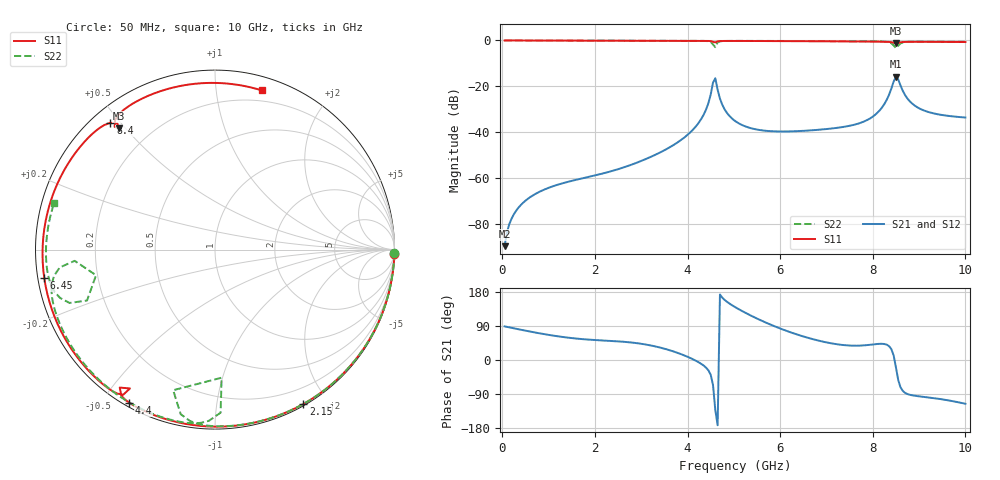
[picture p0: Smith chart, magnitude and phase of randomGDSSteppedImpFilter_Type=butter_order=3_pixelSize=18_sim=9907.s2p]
! freq	dB(S11)	phase(S11)	dB(S12)	phase(S12)
!  dB(S21)	phase(S21)	dB(S22)	phase(S22)
!S-par simulation data
#  GHz  S  DB  R 50
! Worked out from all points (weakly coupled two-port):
!   200 points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, 50 MHz to 10 GHz, reference 50 ohm
!   highest |S21| = -15.85 dB at 8.5 GHz (marker M1); lowest = -89.7 dB at 50 MHz (marker M2)
!   lowest |S11| = -1.3 dB at 8.5 GHz (marker M3), VSWR 13.30, Z = 4.64 + j24.1 ohm
!   |S11| at or under -10 dB: nowhere
!   |S22| runs from -3.4 to 0.0 dB; largest |S21 - S12| = 0
!   S11 on the Smith chart (normalised r, x): 50 MHz: 0, -79; 2.15 GHz: 0.02, -1.72; 4.4 GHz: 0.02, -0.59; 6.45 GHz: 0.02, -0.08; 8.4 GHz: 0.05, +0.47; 10 GHz: 0.11, +1.33
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0.05  -0.00 -1.4  -89.71 88.7  -89.71 88.7  -0.00 -1.1
0.7  -0.03 -20.0  -67.09 72.7  -67.09 72.7  -0.02 -15.7
1.75  -0.06 -49.3  -60.02 54.9  -60.02 54.9  -0.05 -38.7
2.15  -0.08 -60.2  -58.11 51.7  -58.11 51.7  -0.06 -47.2
3.4  -0.12 -93.1  -48.92 33.1  -48.92 33.1  -0.10 -73.3
4.05  -0.15 -109.8  -40.25 5.8  -40.25 5.8  -0.13 -86.8
4.4  -0.19 -119.2  -30.13 -20.1  -30.13 -20.1  -0.23 -96.1
4.55  -0.59 -124.6  -18.39 -65.9  -18.39 -65.9  -1.75 -106.6
4.6  -0.85 -121.5  -16.49 -132.3  -16.49 -132.3  -2.92 -87.0
4.65  -0.38 -122.3  -21.50 -172.1  -21.50 -172.1  -0.83 -88.0
4.75  -0.23 -125.9  -28.04 164.6  -28.04 164.6  -0.28 -94.6
5.05  -0.21 -134.1  -35.44 137.9  -35.44 137.9  -0.18 -102.9
6.45  -0.32 -170.5  -39.48 64.0  -39.48 64.0  -0.25 -129.8
6.7  -0.34 -177.3  -39.16 55.1  -39.16 55.1  -0.26 -134.4
7.8  -0.46 150.6  -35.44 38.5  -35.44 38.5  -0.38 -155.5
8.15  -0.52 139.1  -30.48 42.7  -30.48 42.7  -0.48 -163.6
8.35  -0.65 131.6  -23.74 36.8  -23.74 36.8  -0.83 -170.8
8.4  -0.76 129.5  -21.04 29.0  -21.04 29.0  -1.21 -173.5
8.5  -1.31 128.3  -15.85 -19.3  -15.85 -19.3  -3.38 -167.8
8.6  -0.80 127.6  -19.69 -72.3  -19.69 -72.3  -1.28 -159.8
8.95  -0.59 113.7  -29.00 -95.0  -29.00 -95.0  -0.52 -172.9
10  -0.68 73.6  -33.62 -115.5  -33.62 -115.5  -0.60 163.7
